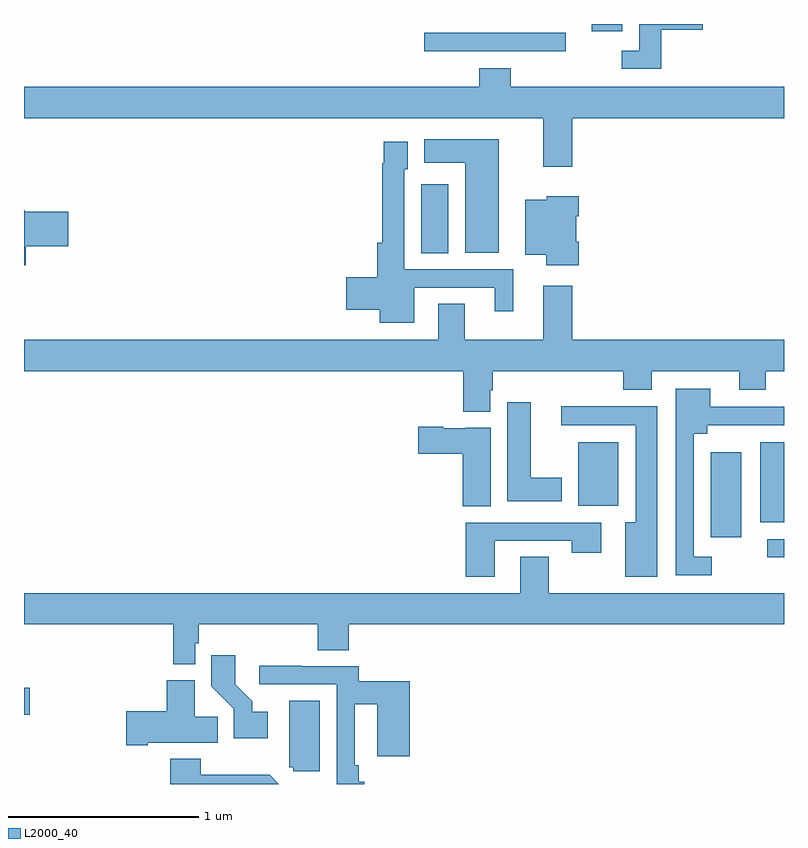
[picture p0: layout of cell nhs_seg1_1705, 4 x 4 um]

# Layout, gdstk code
import gdstk
lib = gdstk.Library(unit=1e-6, precision=1e-09)
def R(c, l, rs):  # rectangles x0, y0, x1, y1
    for r in rs: c.add(gdstk.rectangle(r[:2], r[2:], *l))
def P(c, l, *ps):  # polygons
    for p in ps: c.add(gdstk.Polygon(p, *l))
L2000_40 = (2000, 40)

nhs_seg1_1705 = lib.new_cell('nhs_seg1_1705')
R(nhs_seg1_1705, L2000_40, [(203,576.563,203.029,576.705), (206.913,577.392,207,577.488), (206.615,577.497,206.776,577.945), (206.876,577.577,207,577.999), (205.916,577.664,206.128,577.999), (205.091,578.992,205.234,579.355), (205.107,580.056,205.852,580.152), (205.988,580.161,206.149,580.199)])
P(nhs_seg1_1705, L2000_40, [(206.354,580.169),(206.572,580.169),(206.572,580.199),(206.237,580.199),(206.237,580.059),(206.145,580.059),(206.145,579.963),(206.354,579.963)],
  [(205.886,579.704),(207,579.704),(207,579.868),(205.562,579.868),(205.562,579.967),(205.397,579.967),(205.397,579.868),(203,579.868),(203,579.704),(205.733,579.704),(205.733,579.447),(205.886,579.447)],
  [(205.498,579.592),(205.106,579.592),(205.106,579.47),(205.322,579.47),(205.322,578.996),(205.498,578.996)],
  [(205.054,578.811),(205.478,578.811),(205.478,578.688),(205.576,578.688),(205.576,578.907),(205.002,578.907),(205.002,579.435),(205.021,579.435),(205.021,579.58),(204.894,579.58),(204.894,579.467),(204.886,579.467),(204.886,579.049),(204.86,579.049),(204.86,578.867),(204.696,578.867),(204.696,578.696),(204.872,578.696),(204.872,578.627),(205.054,578.627)],
  [(205.919,579.052),(205.906,579.052),(205.906,579.188),(205.919,579.188),(205.919,579.292),(205.752,579.292),(205.752,579.274),(205.637,579.274),(205.637,578.984),(205.748,578.984),(205.748,578.93),(205.919,578.93)],
  [(203.008,579.029),(203.233,579.029),(203.233,579.212),(203.004,579.212),(203.004,579.22),(203,579.22),(203,578.93),(203.008,578.93)],
  [(205.453,578.271),(205.466,578.271),(205.466,578.372),(206.153,578.372),(206.153,578.273),(206.305,578.273),(206.305,578.372),(206.765,578.372),(206.765,578.273),(206.905,578.273),(206.905,578.372),(207,578.372),(207,578.536),(205.886,578.536),(205.886,578.821),(205.733,578.821),(205.733,578.536),(205.321,578.536),(205.321,578.726),(205.181,578.726),(205.181,578.536),(203,578.536),(203,578.372),(205.313,578.372),(205.313,578.159),(205.453,578.159)],
  [(206.62,577.395),(206.526,577.395),(206.526,578.042),(206.596,578.042),(206.596,578.088),(207,578.088),(207,578.184),(206.611,578.184),(206.611,578.278),(206.43,578.278),(206.43,577.299),(206.62,577.299)],
  [(205.831,577.81),(205.666,577.81),(205.666,578.209),(205.544,578.209),(205.544,577.688),(205.831,577.688)],
  [(206.332,578.186),(205.827,578.186),(205.827,578.088),(206.219,578.088),(206.219,577.576),(206.165,577.576),(206.165,577.29),(206.332,577.29)],
  [(205.456,578.074),(205.326,578.074),(205.326,578.071),(205.206,578.071),(205.206,578.079),(205.074,578.079),(205.074,577.937),(205.31,577.937),(205.31,577.66),(205.456,577.66)],
  [(205.477,577.479),(205.882,577.479),(205.882,577.416),(206.038,577.416),(206.038,577.575),(205.325,577.575),(205.325,577.29),(205.477,577.29)],
  [(203.901,576.939),(203.921,576.939),(203.921,577.04),(204.545,577.04),(204.545,576.904),(204.71,576.904),(204.71,577.04),(207,577.04),(207,577.204),(205.761,577.204),(205.761,577.394),(205.613,577.394),(205.613,577.204),(203,577.204),(203,577.04),(203.785,577.04),(203.785,576.83),(203.901,576.83)],
  [(204.283,576.58),(204.202,576.58),(204.202,576.635),(204.112,576.725),(204.112,576.877),(203.986,576.877),(203.986,576.714),(204.105,576.595),(204.105,576.44),(204.283,576.44)],
  [(204.791,576.21),(204.761,576.21),(204.761,576.298),(204.741,576.298),(204.741,576.618),(204.86,576.618),(204.86,576.345),(205.031,576.345),(205.031,576.739),(204.761,576.739),(204.761,576.819),(204.461,576.819),(204.461,576.822),(204.237,576.822),(204.237,576.723),(204.645,576.723),(204.645,576.199),(204.791,576.199)],
  [(203.65,576.416),(204.02,576.416),(204.02,576.554),(203.899,576.554),(203.899,576.745),(203.75,576.745),(203.75,576.582),(203.538,576.582),(203.538,576.404),(203.65,576.404)],
  [(204.556,576.637),(204.395,576.637),(204.395,576.288),(204.417,576.288),(204.417,576.267),(204.556,576.267)],
  [(204.293,576.247),(203.931,576.247),(203.931,576.331),(203.771,576.331),(203.771,576.199),(204.341,576.199)])

lib.write_gds('nhs_seg1_1705.gds')
